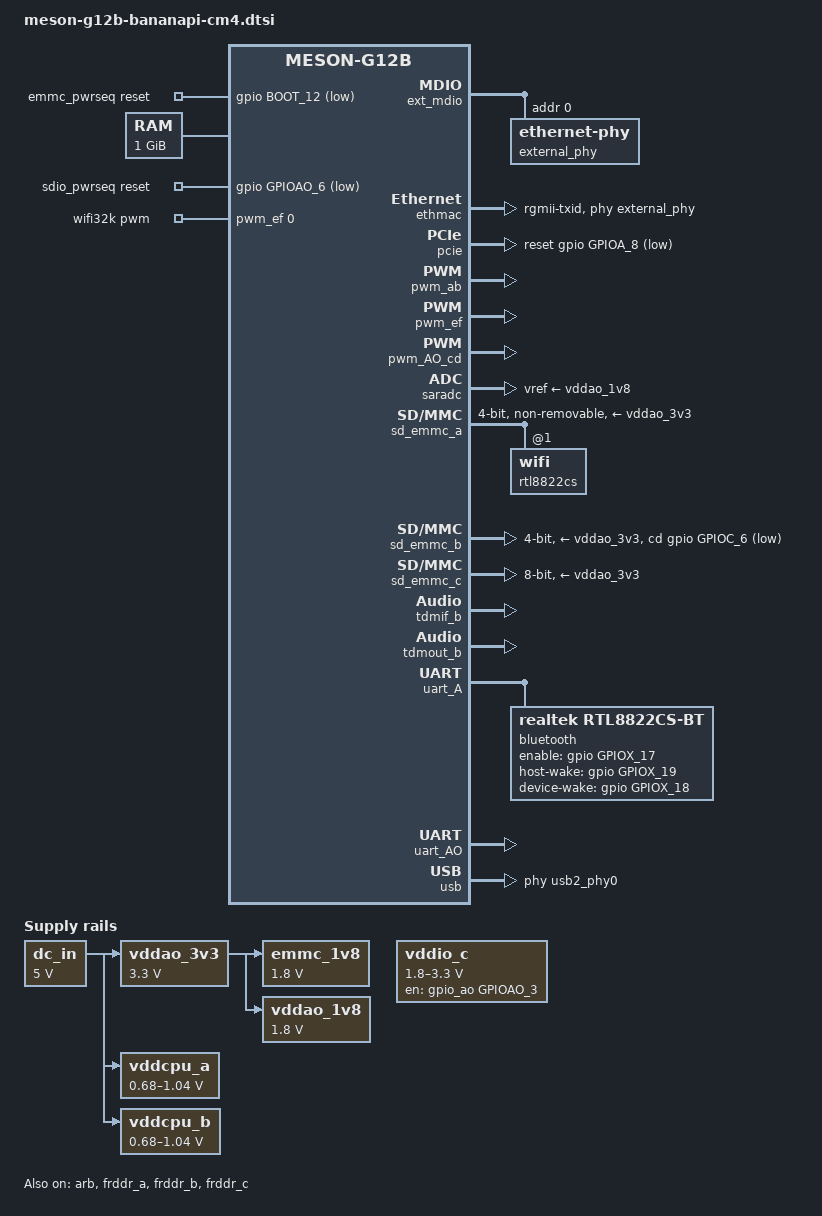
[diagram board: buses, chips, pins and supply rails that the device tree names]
// SPDX-License-Identifier: (GPL-2.0+ OR MIT)
/*
 * Copyright (c) 2023 Neil Armstrong <neil.armstrong@linaro.org>
 */

#include "meson-g12b-a311d.dtsi"
#include <dt-bindings/gpio/meson-g12a-gpio.h>

/ {
	aliases {
		serial0 = &uart_AO;
		rtc1 = &vrtc;
	};

	chosen {
		stdout-path = "serial0:115200n8";
	};

	emmc_pwrseq: emmc-pwrseq {
		compatible = "mmc-pwrseq-emmc";
		reset-gpios = <&gpio BOOT_12 GPIO_ACTIVE_LOW>;
	};

	memory@0 {
		device_type = "memory";
		reg = <0x0 0x0 0x0 0x40000000>;
	};

	sdio_pwrseq: sdio-pwrseq {
		compatible = "mmc-pwrseq-simple";
		reset-gpios = <&gpio GPIOAO_6 GPIO_ACTIVE_LOW>;
		clocks = <&wifi32k>;
		clock-names = "ext_clock";
	};

	emmc_1v8: regulator-emmc-1v8 {
		compatible = "regulator-fixed";
		regulator-name = "EMMC_1V8";
		regulator-min-microvolt = <1800000>;
		regulator-max-microvolt = <1800000>;
		vin-supply = <&vddao_3v3>;
		regulator-always-on;
	};

	dc_in: regulator-dc-in {
		compatible = "regulator-fixed";
		regulator-name = "DC_IN";
		regulator-min-microvolt = <5000000>;
		regulator-max-microvolt = <5000000>;
		regulator-always-on;
	};

	vddio_c: regulator-vddio-c {
		compatible = "regulator-gpio";
		regulator-name = "VDDIO_C";
		regulator-min-microvolt = <1800000>;
		regulator-max-microvolt = <3300000>;

		enable-gpios = <&gpio_ao GPIOAO_3 GPIO_OPEN_DRAIN>;
		enable-active-high;
		regulator-always-on;

		gpios = <&gpio_ao GPIOAO_9 GPIO_OPEN_DRAIN>;
		gpios-states = <1>;

		states = <1800000 0>,
			 <3300000 1>;
	};

	vddao_1v8: regulator-vddao-1v8 {
		compatible = "regulator-fixed";
		regulator-name = "VDDAO_1V8";
		regulator-min-microvolt = <1800000>;
		regulator-max-microvolt = <1800000>;
		vin-supply = <&vddao_3v3>;
		regulator-always-on;
	};

	vddao_3v3: regulator-vddao-3v3 {
		compatible = "regulator-fixed";
		regulator-name = "VDDAO_3V3";
		regulator-min-microvolt = <3300000>;
		regulator-max-microvolt = <3300000>;
		vin-supply = <&dc_in>;
		regulator-always-on;
	};

	vddcpu_a: regulator-vddcpu-a {
		/*
		 * MP8756GD DC/DC Regulator.
		 */
		compatible = "pwm-regulator";

		regulator-name = "VDDCPU_A";
		regulator-min-microvolt = <680000>;
		regulator-max-microvolt = <1040000>;

		pwm-supply = <&dc_in>;

		pwms = <&pwm_ab 0 1250 0>;
		pwm-dutycycle-range = <100 0>;

		regulator-boot-on;
		regulator-always-on;
	};

	vddcpu_b: regulator-vddcpu-b {
		/*
		 * SY8120B1ABC DC/DC Regulator.
		 */
		compatible = "pwm-regulator";

		regulator-name = "VDDCPU_B";
		regulator-min-microvolt = <680000>;
		regulator-max-microvolt = <1040000>;

		pwm-supply = <&dc_in>;

		pwms = <&pwm_AO_cd 1 1250 0>;
		pwm-dutycycle-range = <100 0>;

		regulator-boot-on;
		regulator-always-on;
	};

	wifi32k: wifi32k {
		compatible = "pwm-clock";
		#clock-cells = <0>;
		clock-frequency = <32768>;
		pwms = <&pwm_ef 0 30518 0>; /* PWM_E at 32.768KHz */
	};
};

&arb {
	status = "okay";
};

&clkc_audio {
	status = "okay";
};

&cec_AO {
	pinctrl-0 = <&cec_ao_a_h_pins>;
	pinctrl-names = "default";
	hdmi-phandle = <&hdmi_tx>;
};

&cecb_AO {
	pinctrl-0 = <&cec_ao_b_h_pins>;
	pinctrl-names = "default";
	hdmi-phandle = <&hdmi_tx>;
};

&cpu0 {
	cpu-supply = <&vddcpu_b>;
	operating-points-v2 = <&cpu_opp_table_0>;
	clocks = <&clkc CLKID_CPU_CLK>;
};

&cpu1 {
	cpu-supply = <&vddcpu_b>;
	operating-points-v2 = <&cpu_opp_table_0>;
	clocks = <&clkc CLKID_CPU_CLK>;
};

&cpu100 {
	cpu-supply = <&vddcpu_a>;
	operating-points-v2 = <&cpub_opp_table_1>;
	clocks = <&clkc CLKID_CPUB_CLK>;
};

&cpu101 {
	cpu-supply = <&vddcpu_a>;
	operating-points-v2 = <&cpub_opp_table_1>;
	clocks = <&clkc CLKID_CPUB_CLK>;
};

&cpu102 {
	cpu-supply = <&vddcpu_a>;
	operating-points-v2 = <&cpub_opp_table_1>;
	clocks = <&clkc CLKID_CPUB_CLK>;
};

&cpu103 {
	cpu-supply = <&vddcpu_a>;
	operating-points-v2 = <&cpub_opp_table_1>;
	clocks = <&clkc CLKID_CPUB_CLK>;
};

&ext_mdio {
	external_phy: ethernet-phy@0 {
		/* Realtek RTL8211F (0x001cc916) */
		reg = <0>;
		max-speed = <1000>;

		interrupt-parent = <&gpio_intc>;
		/* MAC_INTR on GPIOZ_14 */
		interrupts = <IRQID_GPIOZ_14 IRQ_TYPE_LEVEL_LOW>;
	};
};

/* Ethernet to be enabled in baseboard DT */
&ethmac {
	pinctrl-0 = <&eth_pins>, <&eth_rgmii_pins>;
	pinctrl-names = "default";
	phy-mode = "rgmii-txid";
	phy-handle = <&external_phy>;
};

&frddr_a {
	status = "okay";
};

&frddr_b {
	status = "okay";
};

&frddr_c {
	status = "okay";
};

/* HDMI to be enabled in baseboard DT */
&hdmi_tx {
	pinctrl-0 = <&hdmitx_hpd_pins>, <&hdmitx_ddc_pins>;
	pinctrl-names = "default";
	hdmi-supply = <&dc_in>;
};

/* "Camera" I2C bus */
&i2c1 {
	pinctrl-0 = <&i2c1_sda_h6_pins>, <&i2c1_sck_h7_pins>;
	pinctrl-names = "default";
};

/* Main I2C bus */
&i2c2 {
	pinctrl-0 = <&i2c2_sda_x_pins>, <&i2c2_sck_x_pins>;
	pinctrl-names = "default";
};

/* "ID" I2C bus */
&i2c3 {
	pinctrl-0 = <&i2c3_sda_a_pins>, <&i2c3_sck_a_pins>;
	pinctrl-names = "default";
};

&pcie {
	reset-gpios = <&gpio GPIOA_8 GPIO_ACTIVE_LOW>;
};

&pwm_ab {
	pinctrl-0 = <&pwm_a_e_pins>;
	pinctrl-names = "default";

	status = "okay";
};

&pwm_ef {
	pinctrl-0 = <&pwm_e_pins>;
	pinctrl-names = "default";

	status = "okay";
};

&pwm_AO_cd {
	pinctrl-0 = <&pwm_ao_d_e_pins>;
	pinctrl-names = "default";

	status = "okay";
};

&saradc {
	vref-supply = <&vddao_1v8>;

	status = "okay";
};

/* on-module SDIO WiFi */
&sd_emmc_a {
	pinctrl-0 = <&sdio_pins>;
	pinctrl-1 = <&sdio_clk_gate_pins>;
	pinctrl-names = "default", "clk-gate";
	#address-cells = <1>;
	#size-cells = <0>;

	bus-width = <4>;
	sd-uhs-sdr104;
	max-frequency = <50000000>;

	non-removable;
	disable-wp;

	/* WiFi firmware requires power in suspend */
	keep-power-in-suspend;

	mmc-pwrseq = <&sdio_pwrseq>;

	vmmc-supply = <&vddao_3v3>;
	vqmmc-supply = <&vddao_3v3>;

	status = "okay";

	rtl8822cs: wifi@1 {
		reg = <1>;
	};
};

/* SD card to be enabled in baseboard DT */
&sd_emmc_b {
	pinctrl-0 = <&sdcard_c_pins>;
	pinctrl-1 = <&sdcard_clk_gate_c_pins>;
	pinctrl-names = "default", "clk-gate";

	bus-width = <4>;
	cap-sd-highspeed;
	max-frequency = <50000000>;
	disable-wp;

	cd-gpios = <&gpio GPIOC_6 GPIO_ACTIVE_LOW>;
	vmmc-supply = <&vddao_3v3>;
	vqmmc-supply = <&vddio_c>;
};

/* on-module eMMC */
&sd_emmc_c {
	pinctrl-0 = <&emmc_ctrl_pins>, <&emmc_data_8b_pins>, <&emmc_ds_pins>;
	pinctrl-1 = <&emmc_clk_gate_pins>;
	pinctrl-names = "default", "clk-gate";

	bus-width = <8>;
	cap-mmc-highspeed;
	mmc-ddr-1_8v;
	mmc-hs200-1_8v;
	max-frequency = <200000000>;
	disable-wp;

	mmc-pwrseq = <&emmc_pwrseq>;
	vmmc-supply = <&vddao_3v3>;
	vqmmc-supply = <&vddao_1v8>;

	status = "okay";
};

&tdmif_b {
	status = "okay";
};

&tdmout_b {
	status = "okay";
};

/* on-module UART BT */
&uart_A {
	pinctrl-0 = <&uart_a_pins>, <&uart_a_cts_rts_pins>;
	pinctrl-names = "default";
	uart-has-rtscts;

	status = "okay";

	bluetooth {
		compatible = "realtek,rtl8822cs-bt";
		enable-gpios = <&gpio GPIOX_17 GPIO_ACTIVE_HIGH>;
		host-wake-gpios = <&gpio GPIOX_19 GPIO_ACTIVE_HIGH>;
		device-wake-gpios = <&gpio GPIOX_18 GPIO_ACTIVE_HIGH>;
	};
};

&uart_AO {
	pinctrl-0 = <&uart_ao_a_pins>;
	pinctrl-names = "default";

	status = "okay";
};

&usb {
	phys = <&usb2_phy0>, <&usb2_phy1>;
	phy-names = "usb2-phy0", "usb2-phy1";
};
